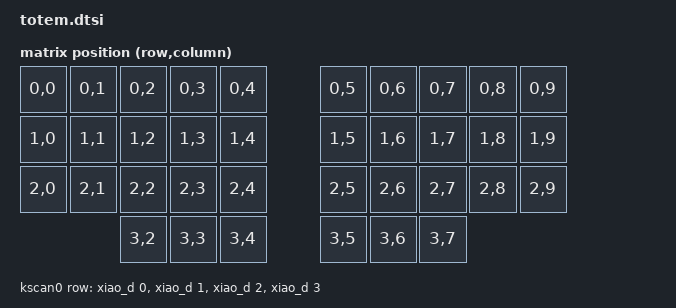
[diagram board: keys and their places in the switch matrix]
/*
 * Copyright (c) 2022 The ZMK Contributors
 *
 * SPDX-License-Identifier: MIT
 */

#include <dt-bindings/zmk/matrix_transform.h>

/ {
    chosen {
        zmk,kscan = &kscan0;
        zmk,matrix_transform = &default_transform;
    };

    default_transform: keymap_transform_0 {
        compatible = "zmk,matrix-transform";
        columns = <10>;
        rows = <4>;
// TOTEMIST (36 keys), not the stock TOTEM (38).
//
// The TOTEM has one extra key per half in its own outer column, wired to
// RC(3,0) (left) and RC(3,9) (right). The TOTEMIST does not have those
// switches, so they are omitted here. Keeping them in the map would reserve
// two key positions that can never fire, and -- more importantly -- would
// push every key after them up by one, silently misaligning anything that
// refers to keys by position (combos, hold-trigger-key-positions).
//
// Resulting 0-based key positions, which now match the standard 36-key
// numbering used by most split configs (e.g. urob's):
//   Row 0:     0  1  2  3  4  |  5  6  7  8  9
//   Row 1:    10 11 12 13 14  | 15 16 17 18 19
//   Row 2:    20 21 22 23 24  | 25 26 27 28 29
//   Thumbs:      30 31 32     | 33 34 35
//
//             | SW01  | SW02  | SW03  | SW04  | SW05  |  | SW05  | SW04  | SW03  | SW02  | SW01  |
//             | SW06  | SW07  | SW08  | SW09  | SW10  |  | SW10  | SW09  | SW08  | SW07  | SW06  |
//             | SW11  | SW12  | SW13  | SW14  | SW15  |  | SW15  | SW14  | SW13  | SW12  | SW11  |
//                             | SW17  | SW18  | SW19  |  | SW19  | SW18  | SW17  |
        map = <
                RC(0,0) RC(0,1) RC(0,2) RC(0,3) RC(0,4)    RC(0,5) RC(0,6) RC(0,7) RC(0,8) RC(0,9)
                RC(1,0) RC(1,1) RC(1,2) RC(1,3) RC(1,4)    RC(1,5) RC(1,6) RC(1,7) RC(1,8) RC(1,9)
                RC(2,0) RC(2,1) RC(2,2) RC(2,3) RC(2,4)    RC(2,5) RC(2,6) RC(2,7) RC(2,8) RC(2,9)
                                RC(3,2) RC(3,3) RC(3,4)    RC(3,5) RC(3,6) RC(3,7)
        >;
    };


    kscan0: kscan_0 {
        compatible = "zmk,kscan-gpio-matrix";
        label = "KSCAN";
        
        diode-direction = "col2row"; 
        row-gpios
            = <&xiao_d 0 (GPIO_ACTIVE_HIGH | GPIO_PULL_DOWN)>
            , <&xiao_d 1 (GPIO_ACTIVE_HIGH | GPIO_PULL_DOWN)>
            , <&xiao_d 2 (GPIO_ACTIVE_HIGH | GPIO_PULL_DOWN)>
            , <&xiao_d 3 (GPIO_ACTIVE_HIGH | GPIO_PULL_DOWN)>
            ;
    };
};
